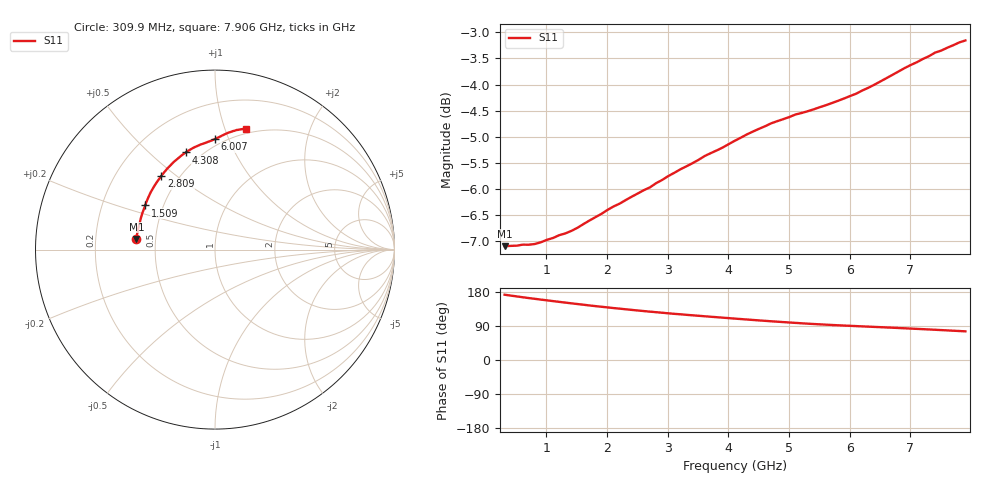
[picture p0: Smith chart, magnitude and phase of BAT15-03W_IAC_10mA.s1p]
! Infineon Technologies  Discrete & RF Semiconductors
! BAT15-03W-E6327
! IAC = 10 mA
! One-Port S-Parameters
# Hz  S  MA  R  50
!f  S11
!Hz  Mag  Ang
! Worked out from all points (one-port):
!   77 points, 309.9 MHz to 7.906 GHz, reference 50 ohm
!   lowest |S11| = -7.1 dB at 309.9 MHz (marker M1), VSWR 2.58, Z = 19.4 + j2.86 ohm
!   |S11| at or under -10 dB: nowhere
!   S11 on the Smith chart (normalised r, x): 309.9 MHz: 0.39, +0.06; 1.509 GHz: 0.40, +0.25; 2.809 GHz: 0.40, +0.44; 4.308 GHz: 0.41, +0.66; 6.007 GHz: 0.45, +0.89; 7.906 GHz: 0.45, +1.18
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3.0985e8  0.442 172.3
6.097e8  0.4435 165.5
8.096e8  0.4442 161.4
1.0095e9  0.4483 157.4
1.2094e9  0.4529 153.5
1.30935e9  0.4546 151.5
1.50925e9  0.4602 147.7
1.8091e9  0.4713 142.2
2.10895e9  0.4825 137.0
2.2089e9  0.4855 135.5
2.50875e9  0.4966 130.6
2.8086e9  0.5079 126.1
3.0085e9  0.5159 123.2
3.2084e9  0.5236 120.6
3.6082e9  0.5391 115.4
4.10795e9  0.5577 109.2
4.30785e9  0.5655 106.8
4.70765e9  0.5795 102.1
5.10745e9  0.5908 97.9
5.30735e9  0.595 95.9
5.50725e9  0.6004 94.1
5.70715e9  0.6059 92.4
6.007e9  0.6153 90.2
6.50675e9  0.6354 86.6
7.0065e9  0.6588 82.9
7.4063e9  0.677 79.8
7.8061e9  0.6923 76.5
7.90605e9  0.6954 75.6
